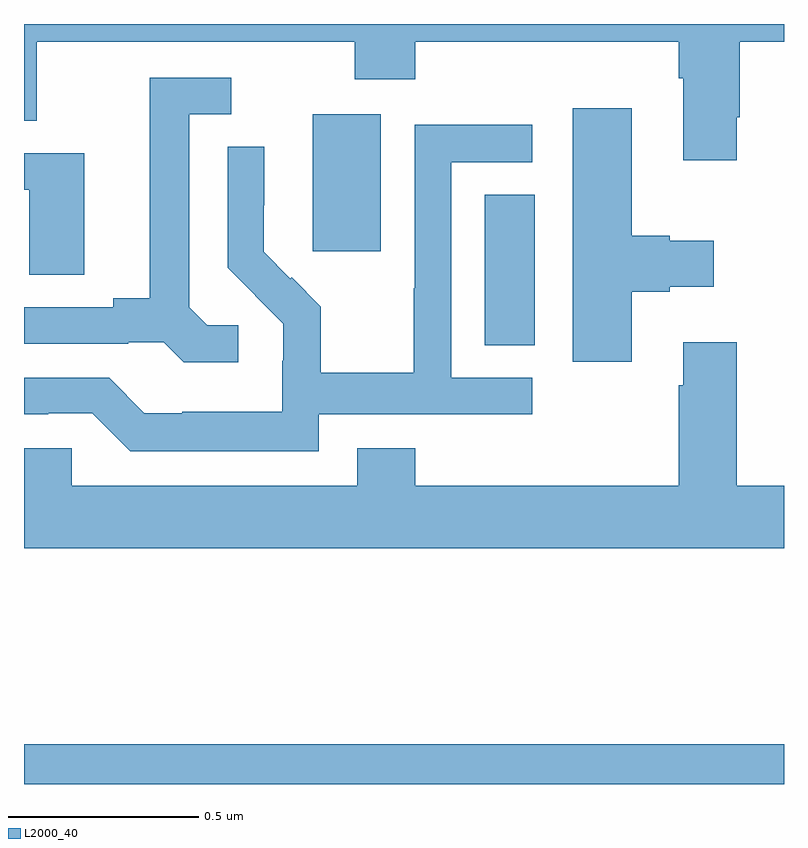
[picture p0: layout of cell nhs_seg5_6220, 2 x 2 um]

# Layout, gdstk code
import gdstk
lib = gdstk.Library(unit=1e-6, precision=1e-09)
def R(c, l, rs):  # rectangles x0, y0, x1, y1
    for r in rs: c.add(gdstk.rectangle(r[:2], r[2:], *l))
def P(c, l, *ps):  # polygons
    for p in ps: c.add(gdstk.Polygon(p, *l))
L2000_40 = (2000, 40)

nhs_seg5_6220 = lib.new_cell('nhs_seg5_6220')
R(nhs_seg5_6220, L2000_40, [(193,862.799,195,862.904), (194.213,863.953,194.344,864.35), (193.76,864.201,193.939,864.562)])
P(nhs_seg5_6220, L2000_40, [(193,864.544),(193.033,864.544),(193.033,864.752),(193.87,864.752),(193.87,864.653),(194.03,864.653),(194.03,864.752),(194.723,864.752),(194.723,864.656),(194.735,864.656),(194.735,864.441),(194.875,864.441),(194.875,864.553),(194.883,864.553),(194.883,864.752),(195,864.752),(195,864.799),(193,864.799)],
  [(193.564,864.006),(193.482,864.006),(193.435,864.053),(193.435,864.561),(193.546,864.561),(193.546,864.657),(193.331,864.657),(193.331,864.077),(193.235,864.077),(193.235,864.054),(193,864.054),(193,863.958),(193.274,863.958),(193.274,863.961),(193.368,863.961),(193.42,863.909),(193.564,863.909)],
  [(194.599,864.095),(194.699,864.095),(194.699,864.107),(194.815,864.107),(194.815,864.229),(194.699,864.229),(194.699,864.242),(194.599,864.242),(194.599,864.577),(194.444,864.577),(194.444,863.91),(194.599,863.91)],
  [(193.776,863.772),(194.338,863.772),(194.338,863.868),(194.124,863.868),(194.124,864.435),(194.338,864.435),(194.338,864.534),(194.028,864.534),(194.028,864.104),(194.026,864.104),(194.026,863.881),(193.781,863.881),(193.781,864.055),(193.704,864.132),(193.701,864.129),(193.631,864.2),(193.631,864.322),(193.632,864.322),(193.632,864.476),(193.536,864.476),(193.536,864.158),(193.609,864.085),(193.608,864.084),(193.682,864.01),(193.682,863.913),(193.68,863.913),(193.68,863.779),(193.417,863.779),(193.417,863.775),(193.317,863.775),(193.224,863.868),(193,863.868),(193,863.772),(193.064,863.772),(193.064,863.775),(193.179,863.775),(193.279,863.675),(193.776,863.675)],
  [(193.159,864.459),(193,864.459),(193,864.363),(193.014,864.363),(193.014,864.139),(193.159,864.139)],
  [(195,863.584),(194.875,863.584),(194.875,863.962),(194.735,863.962),(194.735,863.849),(194.723,863.849),(194.723,863.584),(194.03,863.584),(194.03,863.683),(193.877,863.683),(193.877,863.584),(193.125,863.584),(193.125,863.682),(193,863.682),(193,863.42),(195,863.42)])

lib.write_gds('nhs_seg5_6220.gds')
